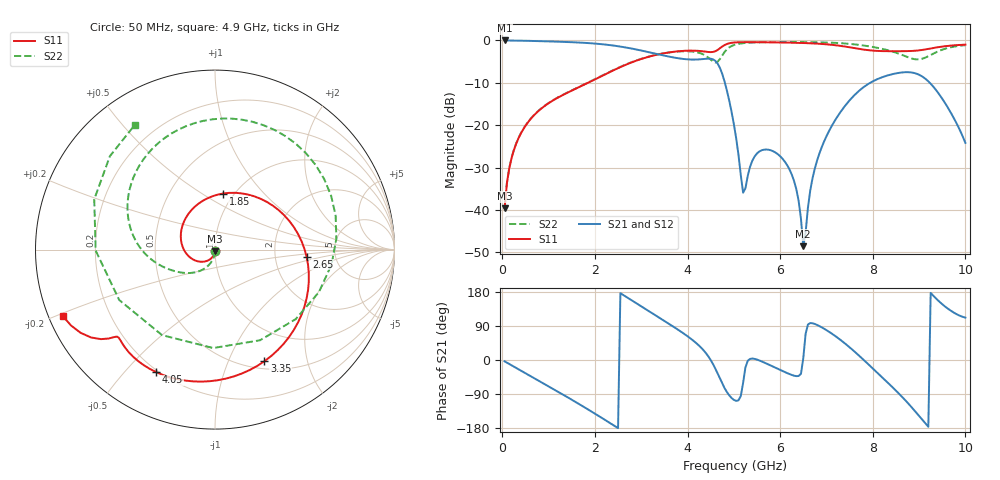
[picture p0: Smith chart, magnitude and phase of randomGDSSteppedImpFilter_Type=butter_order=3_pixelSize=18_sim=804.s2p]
! freq	dB(S11)	phase(S11)	dB(S12)	phase(S12)
!  dB(S21)	phase(S21)	dB(S22)	phase(S22)
!S-par simulation data
#  GHz  S  DB  R 50
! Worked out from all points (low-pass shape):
!   200 points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, 50 MHz to 10 GHz, reference 50 ohm
!   highest |S21| = -0.02 dB at 50 MHz (marker M1); lowest = -48.5 dB at 6.5 GHz (marker M2)
!   |S21| within 3 dB of the highest: start of sweep to 3.26 GHz
!   lowest |S11| = -39.6 dB at 50 MHz (marker M3), VSWR 1.02, Z = 50 - j1.05 ohm
!   |S11| at or under -10 dB: start of sweep to 1.852 GHz
!   |S22| runs from -39.5 to -0.4 dB; largest |S21 - S12| = 0
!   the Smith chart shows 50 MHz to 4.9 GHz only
!   S11 on the Smith chart (normalised r, x): 50 MHz: 1.00, -0.02; 1.85 GHz: 0.89, +0.62; 2.65 GHz: 3.06, -0.32; 3.35 GHz: 0.59, -1.36; 4.05 GHz: 0.19, -0.61; 4.9 GHz: 0.04, -0.21
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0.05  -39.59 -87.0  -0.02 -3.5  -0.02 -3.5  -39.51 -84.9
0.5  -20.16 -136.3  -0.09 -34.7  -0.09 -34.7  -20.09 -113.5
1.75  -10.54 93.1  -0.56 -123.0  -0.56 -123.0  -10.49 -160.6
1.85  -10.01 81.7  -0.63 -130.3  -0.63 -130.3  -9.96 -164.1
2.65  -5.82 -4.3  -1.64 168.6  -1.64 168.6  -5.77 159.9
3.35  -3.35 -66.1  -3.24 114.6  -3.24 114.6  -3.33 114.3
3.4  -3.23 -70.0  -3.36 110.8  -3.36 110.8  -3.21 110.6
4.05  -2.42 -115.6  -4.51 58.2  -4.51 58.2  -2.59 52.6
4.4  -2.67 -134.6  -4.33 17.7  -4.33 17.7  -3.68 -7.3
4.6  -2.56 -139.1  -4.83 -22.7  -4.83 -22.7  -5.22 -91.1
4.9  -0.68 -156.2  -14.19 -93.2  -14.19 -93.2  -1.66 122.7
5.05  -0.46 -167.7  -23.05 -107.9  -23.05 -107.9  -0.93 89.0
5.2  -0.42 -178.0  -35.94 -60.4  -35.94 -60.4  -0.66 66.6
6.15  -0.52 120.6  -29.41 -34.5  -29.41 -34.5  -0.39 -10.5
6.5  -0.62 94.3  -48.54 5.4  -48.54 5.4  -0.40 -31.4
6.7  -0.71 77.2  -32.47 97.0  -32.47 97.0  -0.43 -42.8
7.45  -1.54 -11.8  -14.78 38.6  -14.78 38.6  -0.77 -86.1
7.9  -2.31 -87.6  -10.30 -10.8  -10.30 -10.8  -1.37 -115.2
8.35  -2.55 -159.8  -8.18 -62.9  -8.18 -62.9  -2.39 -153.7
9.05  -2.28 127.3  -8.40 -154.9  -8.40 -154.9  -4.38 75.1
9.45  -1.54 97.3  -12.96 152.6  -12.96 152.6  -2.40 -11.4
10  -1.01 60.3  -24.19 111.8  -24.19 111.8  -1.14 -72.9
